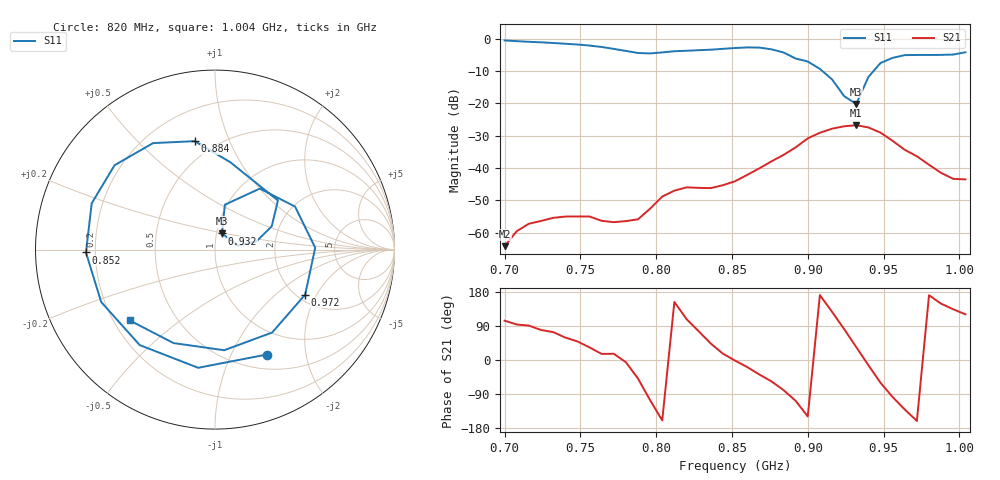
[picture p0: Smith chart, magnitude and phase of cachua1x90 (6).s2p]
# Hz S RI R 50
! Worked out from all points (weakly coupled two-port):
!   39 points, 700 MHz to 1.004 GHz, reference 50 ohm
!   highest |S21| = -26.74 dB at 932 MHz (marker M1); lowest = -64.1 dB at 700 MHz (marker M2)
!   lowest |S11| = -20.2 dB at 932 MHz (marker M3), VSWR 1.22, Z = 53.1 + j9.64 ohm
!   |S11| at or under -10 dB: 909.7 MHz to 943.4 MHz (33.72 MHz wide, 3.64 % of centre)
!   S12 and S22 are empty: the file has one direction only
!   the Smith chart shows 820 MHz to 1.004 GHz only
!   S11 on the Smith chart (normalised r, x): 820 MHz: 0.68, -1.38; 852 MHz: 0.16, -0.01; 884 MHz: 0.39, +0.75; 932 MHz: 1.06, +0.19; 972 MHz: 2.21, -1.62; 1.004 GHz: 0.27, -0.34
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7e8  0.7616 0.5526  -0.000147 0.000603  0 0  0 0
7.24e8  0.8453 -0.2465  0.000286 0.00149  0 0  0 0
7.4e8  0.4574 -0.7009  0.000912 0.00153  0 0  0 0
7.56e8  -0.195 -0.7602  0.00149 0.000981  0 0  0 0
7.72e8  -0.6685 -0.1969  0.0014 0.000413  0 0  0 0
7.8e8  -0.6063 0.2301  0.00151 -0.000153  0 0  0 0
7.88e8  -0.2538 0.5463  0.00106 -0.00122  0 0  0 0
7.96e8  0.2422 0.5416  -0.000655 -0.00227  0 0  0 0
8.04e8  0.5844 0.1896  -0.0034 -0.00127  0 0  0 0
8.2e8  0.289 -0.5847  -0.00156 0.00479  0 0  0 0
8.36e8  -0.4194 -0.532  0.00356 0.00337  0 0  0 0
8.52e8  -0.719 -0.0161  0.00625 -0.000166  0 0  0 0
8.68e8  -0.5597 0.4701  0.00779 -0.0061  0 0  0 0
8.84e8  -0.1133 0.6041  0.00295 -0.0157  0 0  0 0
9e8  0.3507 0.2738  -0.0247 -0.0149  0 0  0 0
9.08e8  0.316 0.1299  -0.0348 0.00526  0 0  0 0
9.32e8  0.0388 0.0899  0.0382 0.0257  0 0  0 0
9.4e8  0.0549 0.2501  0.0413 -0.0101  0 0  0 0
9.56e8  0.446 0.2397  -0.00357 -0.0261  0 0  0 0
9.72e8  0.5024 -0.2507  -0.0144 -0.00501  0 0  0 0
9.88e8  0.0511 -0.5607  -0.00718 0.00439  0 0  0 0
1.004e9  -0.4751 -0.3946  -0.0034 0.00576  0 0  0 0
